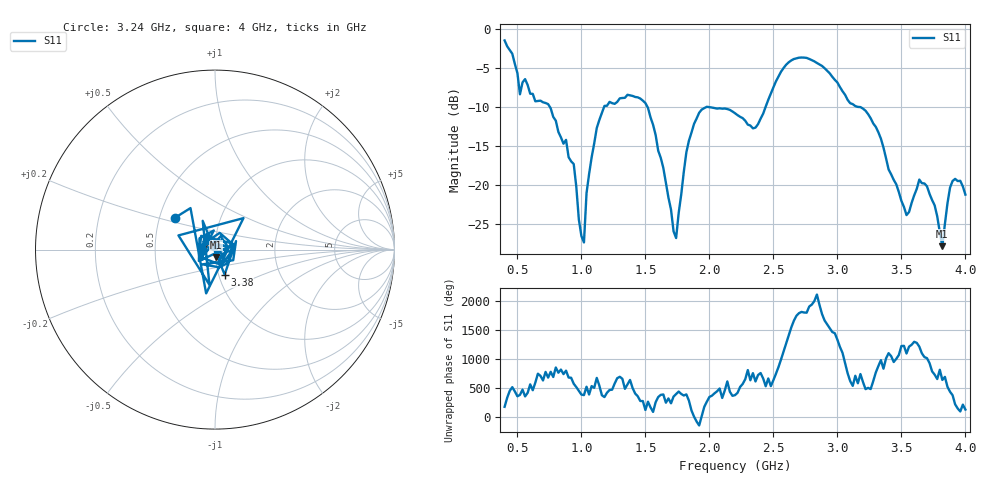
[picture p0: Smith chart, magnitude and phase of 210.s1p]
!Created with skrf (http://scikit-rf.org).
# Hz S RI R 50.0
!freq ReS11 ImS11
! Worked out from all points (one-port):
!   181 points, 400 MHz to 4 GHz, reference 50 ohm
!   lowest |S11| = -27.8 dB at 3.82 GHz (marker M1), VSWR 1.09, Z = 50.5 - j4.08 ohm
!   |S11| at or under -10 dB: 754.9 MHz to 1.176 GHz (421.6 MHz wide, 43.7 % of centre); 1.517 GHz to 1.974 GHz (456.4 MHz wide, 26.1 % of centre); 3.182 GHz to end of sweep (the widest 3 of 4)
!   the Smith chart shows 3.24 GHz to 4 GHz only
!   S11 on the Smith chart (normalised r, x): 3.24 GHz: 0.60, +0.23; 3.38 GHz: 1.07, -0.30; 4 GHz: 0.89, +0.13
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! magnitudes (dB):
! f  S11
! 400 MHz  -1.5
! 520 MHz  -8.4
! 560 MHz  -6.4
! 740 MHz  -9.6
! 860 MHz  -14.7
! 940 MHz  -17.3
! 980 MHz  -24.4
! 1.02 GHz  -27.3
! 1.04 GHz  -21.0
! 1.12 GHz  -12.7
! 1.3 GHz  -8.9
! 1.52 GHz  -10.1
! 1.72 GHz  -25.9
! 1.74 GHz  -26.7
! 1.76 GHz  -23.5
! 1.82 GHz  -15.8
! 1.92 GHz  -10.7
! 2.2 GHz  -10.8
! 2.36 GHz  -12.6
! 2.66 GHz  -3.8
! 3.1 GHz  -9.5
! 3.24 GHz  -10.9
! 3.38 GHz  -16.5
! 3.56 GHz  -23.4
! 3.68 GHz  -19.8
! 3.82 GHz  -27.8
! 3.9 GHz  -19.4
! 4 GHz  -21.2
